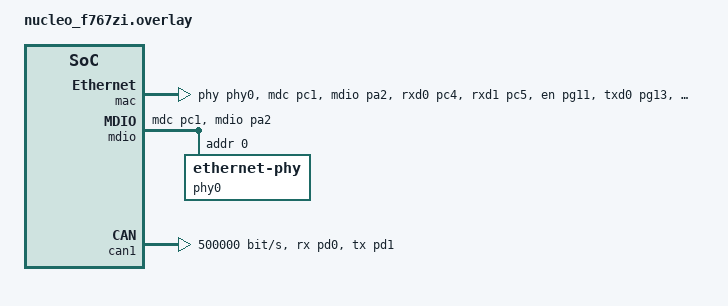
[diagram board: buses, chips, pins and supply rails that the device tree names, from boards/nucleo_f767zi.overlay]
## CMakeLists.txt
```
# CMake build configuration for Zephyr RTOS application
# This file tells the build system how to compile our embedded application

# Require minimum CMake version for modern features
cmake_minimum_required(VERSION 3.20.0)

# Export compile_commands.json for IDE IntelliSense
set(CMAKE_EXPORT_COMPILE_COMMANDS ON)

# Add device tree overlay for board-specific Ethernet configuration
# MUST be set before find_package(Zephyr)
# Disabled: board already provides correct Ethernet/PHY configuration
# set(DTC_OVERLAY_FILE "boards/nucleo_f767zi.overlay")

# Find and load the Zephyr RTOS build system
# ZEPHYR_BASE environment variable points to Zephyr installation
find_package(Zephyr REQUIRED HINTS $ENV{ZEPHYR_BASE})

# Define our project name (used in build outputs)
project(k2_zephyr_app)

# Use OpenOCD (from Zephyr SDK) as default flash/debug runner
set(BOARD_FLASH_RUNNER openocd)
set(BOARD_DEBUG_RUNNER openocd)

# Tell Zephyr to compile our main source file into the application
# 'app' is Zephyr's standard target name for the main application binary
target_sources(app PRIVATE src/main.c
                           src/led.c
                           src/net.c
                           src/control.c
                            src/bitmask.c
                            src/crc32.c)
```

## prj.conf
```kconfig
# Zephyr Project Configuration File
# This file enables/disables features and sets build-time options
# Each CONFIG_ line enables a specific feature or subsystem

# ==================== LOGGING & CONSOLE ====================
# Enable the logging subsystem for debug messages
CONFIG_LOG=y
# Set log level: 0=OFF, 1=ERROR, 2=WARN, 3=INFO, 4=DEBUG
CONFIG_LOG_DEFAULT_LEVEL=3
# Enable console output over UART (serial port)
CONFIG_UART_CONSOLE=y

CONFIG_SERIAL=y
CONFIG_CONSOLE=y
CONFIG_PRINTK=y

# ==================== CAN BUS ====================
# Enable CAN subsystem
CONFIG_CAN=y


# ==================== NETWORKING STACK ====================
# Enable the core networking subsystem
CONFIG_NETWORKING=y
# Enable IPv4 protocol support
CONFIG_NET_IPV4=y
# Disable DHCP client - using static IP instead
CONFIG_NET_DHCPV4=n
# Enable static IP configuration
CONFIG_NET_CONFIG_SETTINGS=y
CONFIG_NET_CONFIG_MY_IPV4_ADDR="192.168.1.100"
CONFIG_NET_CONFIG_MY_IPV4_NETMASK="255.255.255.0"
CONFIG_NET_CONFIG_MY_IPV4_GW="192.168.1.1"
# Enable Ethernet as a Layer 2 protocol (this enables Ethernet support)
CONFIG_NET_L2_ETHERNET=y
# Enable UDP protocol support
CONFIG_NET_UDP=y
# Enable BSD socket API for easier network programming
CONFIG_NET_SOCKETS=y
# Disable POSIX socket names, we use zsock_* explicitly
# (No assignment here; symbol may not exist in this Zephyr version)
# Enable Ethernet driver for STM32 (STM32F767ZI has built-in Ethernet MAC)
CONFIG_ETH_STM32_HAL=y
# Enable network buffer management
CONFIG_NET_BUF=y
# Increase network buffer pools for better performance
CONFIG_NET_PKT_RX_COUNT=16
CONFIG_NET_PKT_TX_COUNT=16
# Enable network management for monitoring connection status
CONFIG_NET_MGMT=y
CONFIG_NET_MGMT_EVENT=y
# Increase network memory pools
CONFIG_NET_BUF_RX_COUNT=16
CONFIG_NET_BUF_TX_COUNT=16
CONFIG_NET_BUF_DATA_SIZE=128
# Enable network statistics for debugging
CONFIG_NET_STATISTICS=y

# ==================== GPIO & HARDWARE ====================
# Enable GPIO (General Purpose Input/Output) for LED control
CONFIG_GPIO=y

# ==================== DEBUGGING & DIAGNOSTICS ====================
# Enable thread stack information for debugging
CONFIG_THREAD_STACK_INFO=y
# Initialize stack memory to help detect stack overflows
CONFIG_INIT_STACKS=y

# ==================== C LIBRARY ====================
# Use newlib C library instead of minimal libc
CONFIG_NEWLIB_LIBC=y
# Enable floating point support in printf/sprintf functions
CONFIG_NEWLIB_LIBC_FLOAT_PRINTF=y
# Enable POSIX API support
# (Do not force-disable here; omit this in prj.conf)
# Increase main thread stack size for networking
CONFIG_MAIN_STACK_SIZE=4096
```

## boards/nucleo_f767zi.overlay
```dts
/*
 * Device Tree Overlay for NUCLEO-F767ZI Ethernet Configuration
 * 
 * This overlay configures the STM32F767ZI's built-in Ethernet MAC
 * to work with the LAN8742A PHY chip on the NUCLEO board.
 */

&mac {
	status = "okay";
	pinctrl-0 = <&eth_mdc_pc1 &eth_mdio_pa2 &eth_rxd0_pc4 &eth_rxd1_pc5
		     &eth_tx_en_pg11 &eth_txd0_pg13 &eth_txd1_pb13
		     &eth_rx_dv_pa7 &eth_ref_clk_pa1>;
	pinctrl-names = "default";
	phy-handle = <&phy0>;
};

&mdio {
	status = "okay";
	pinctrl-0 = <&eth_mdc_pc1 &eth_mdio_pa2>;
	pinctrl-names = "default";

	phy0: ethernet-phy@0 {
		compatible = "ethernet-phy";
		reg = <0>;
		status = "okay";
	};
};


&pinctrl {
    can1_rx_pd0: can1_rx_pd0 { pinmux = <STM32_PINMUX('D', 0, AF9)>; };
    can1_tx_pd1: can1_tx_pd1 { pinmux = <STM32_PINMUX('D', 1, AF9)>; };
};

&can1 {
    status = "okay";
    pinctrl-0 = <&can1_rx_pd0 &can1_tx_pd1>;
    pinctrl-names = "default";
    bus-speed = <500000>;
    sample-point = <875>;
};
```

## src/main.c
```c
#include <zephyr/kernel.h>
#include <zephyr/device.h>
#include <zephyr/drivers/can.h>
#include <zephyr/logging/log.h>
#include "canbus.h"
#include "led.h"
#include "control.h"
#include "net.h"

LOG_MODULE_REGISTER(k2_app, LOG_LEVEL_INF);


void main(void)
{

    canbus_init();

    // Initialize the LED GPIO pin
    led_init();

    // Initialize ROV control system
    rov_control_init();
    
    // Initialize networking
    network_init();

    // Start ROV control thread
    rov_control_start();
    
    // Start UDP server thread
    udp_server_start();



    while (1) {

        vesc_set_rpm(68, 2000);
        vesc_set_rpm(37, 750);
        vesc_set_rpm(7, 1500);

        k_sleep(K_SECONDS(1));
    }
}
```

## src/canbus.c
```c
#include "canbus.h"
#include <zephyr/kernel.h>
#include <zephyr/logging/log.h>
LOG_MODULE_REGISTER(canbus, LOG_LEVEL_INF);

static const struct device *can_dev;

/* 29-bit Extended ID: (CMD << 8) | controller_id */
static inline uint32_t vesc_eid(uint8_t cmd, uint8_t cid)
{
    return ((uint32_t)cmd << 8) | (uint32_t)cid;
}

static inline void put_u32_be(uint8_t *dst, int32_t v)
{
    dst[0] = (uint8_t)(v >> 24);
    dst[1] = (uint8_t)(v >> 16);
    dst[2] = (uint8_t)(v >>  8);
    dst[3] = (uint8_t)(v >>  0);
}

int canbus_init(void)
{
    can_dev = DEVICE_DT_GET(DT_NODELABEL(can1));
    if (!device_is_ready(can_dev)) {
        LOG_ERR("CAN not ready");
        return -ENODEV;
    }
    int ret = can_set_mode(can_dev, CAN_MODE_NORMAL);
    if (ret) { LOG_ERR("can_set_mode=%d", ret); return ret; }
    ret = can_start(can_dev);
    if (ret) { LOG_ERR("can_start=%d", ret); return ret; }

    enum can_state st; struct can_bus_err_cnt cnt;
    if (!can_get_state(can_dev, &st, &cnt)) {
#if KERNEL_VERSION_MAJOR >= 4
        LOG_INF("CAN ready: state=%d REC=%u TEC=%u", st, cnt.rx_err_cnt, cnt.tx_err_cnt);
#else
        LOG_INF("CAN ready: state=%d REC=%u TEC=%u", st, cnt.rx_err_cnt, cnt.tx_err_cnt);
#endif
    }
    return 0;
}

int vesc_send_u32(enum vesc_can_cmd cmd, uint8_t controller_id, int32_t val)
{
    if (!can_dev) return -ENODEV;

    struct can_frame f = {
        .id    = vesc_eid((uint8_t)cmd, controller_id),  // 29-bit EID
        .dlc   = 4,
        .flags = CAN_FRAME_IDE                           // EXTENDED!
    };
    put_u32_be(f.data, val);

    int ret = can_send(can_dev, &f, K_MSEC(200), NULL, NULL);
    if (ret) {
        LOG_ERR("VESC send cmd=%u id=%u ret=%d", (unsigned)cmd, (unsigned)controller_id, ret);
    }
    return ret;
}

int vesc_set_duty(uint8_t id, float duty)
{
    /* VESC forventer duty * 100000 (signert 32-bit) */
    int32_t v = (int32_t)(duty * 100000.0f);
    return vesc_send_u32(VESC_CAN_SET_DUTY, id, v);
}

int vesc_set_current(uint8_t id, float amp)
{
    /* VESC forventer A * 1000 */
    int32_t v = (int32_t)(amp * 1000.0f);
    return vesc_send_u32(VESC_CAN_SET_CURRENT, id, v);
}

int vesc_set_brake(uint8_t id, float amp)
{
    int32_t v = (int32_t)(amp * 1000.0f);
    return vesc_send_u32(VESC_CAN_SET_CURRENT_BRAKE, id, v);
}

int vesc_set_rpm(uint8_t id, int32_t rpm)
{
    return vesc_send_u32(VESC_CAN_SET_RPM, id, rpm);   // u-skalert RPM
}

int vesc_set_pos(uint8_t id, int32_t pos)
{
    return vesc_send_u32(VESC_CAN_SET_POS, id, pos);
}
```

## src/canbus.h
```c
#pragma once
#include <zephyr/device.h>
#include <zephyr/drivers/can.h>

/* VESC CAN commands (utdrag) */
enum vesc_can_cmd {
    VESC_CAN_SET_DUTY              = 0,
    VESC_CAN_SET_CURRENT           = 1,
    VESC_CAN_SET_CURRENT_BRAKE     = 2,
    VESC_CAN_SET_RPM               = 3,
    VESC_CAN_SET_POS               = 4,
    VESC_CAN_SET_CURRENT_REL       = 10,
    VESC_CAN_SET_CURRENT_BRAKE_REL = 11,
};

/* Init av CAN (starter i NORMAL) */
int  canbus_init(void);

/* VESC-sending: controller_id = VESC sin CAN ID (0..255) */
int  vesc_set_duty   (uint8_t controller_id, float duty);      // [-1.0..+1.0]
int  vesc_set_current(uint8_t controller_id, float amp);       // A
int  vesc_set_brake  (uint8_t controller_id, float amp);       // A (brems)
int  vesc_set_rpm    (uint8_t controller_id, int32_t rpm);     // RPM (heltall)
int  vesc_set_pos    (uint8_t controller_id, int32_t pos);     // valgfri

/* Valgfri: send rå VESC-kommando (int32 payload) */
int  vesc_send_u32(enum vesc_can_cmd cmd, uint8_t controller_id, int32_t val);
```

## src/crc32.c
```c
#include <stdint.h>
#include <stddef.h>
#include "crc32.h"

static const uint32_t crc32_table[256] = {
    0x00000000, 0x77073096, 0xEE0E612C, 0x990951BA, 0x076DC419, 0x706AF48F,
    0xE963A535, 0x9E6495A3, 0x0EDB8832, 0x79DCB8A4, 0xE0D5E91E, 0x97D2D988,
    0x09B64C2B, 0x7EB17CBD, 0xE7B82D07, 0x90BF1D91, 0x1DB71064, 0x6AB020F2,
    0xF3B97148, 0x84BE41DE, 0x1ADAD47D, 0x6DDDE4EB, 0xF4D4B551, 0x83D385C7,
    0x136C9856, 0x646BA8C0, 0xFD62F97A, 0x8A65C9EC, 0x14015C4F, 0x63066CD9,
    0xFA0F3D63, 0x8D080DF5, 0x3B6E20C8, 0x4C69105E, 0xD56041E4, 0xA2677172,
    0x3C03E4D1, 0x4B04D447, 0xD20D85FD, 0xA50AB56B, 0x35B5A8FA, 0x42B2986C,
    0xDBBBC9D6, 0xACBCF940, 0x32D86CE3, 0x45DF5C75, 0xDCD60DCF, 0xABD13D59,
    0x26D930AC, 0x51DE003A, 0xC8D75180, 0xBFD06116, 0x21B4F4B5, 0x56B3C423,
    0xCFBA9599, 0xB8BDA50F, 0x2802B89E, 0x5F058808, 0xC60CD9B2, 0xB10BE924,
    0x2F6F7C87, 0x58684C11, 0xC1611DAB, 0xB6662D3D, 0x76DC4190, 0x01DB7106,
    0x98D220BC, 0xEFD5102A, 0x71B18589, 0x06B6B51F, 0x9FBFE4A5, 0xE8B8D433,
    0x7807C9A2, 0x0F00F934, 0x9609A88E, 0xE10E9818, 0x7F6A0DBB, 0x086D3D2D,
    0x91646C97, 0xE6635C01, 0x6B6B51F4, 0x1C6C6162, 0x856530D8, 0xF262004E,
    0x6C0695ED, 0x1B01A57B, 0x8208F4C1, 0xF50FC457, 0x65B0D9C6, 0x12B7E950,
    0x8BBEB8EA, 0xFCB9887C, 0x62DD1DDF, 0x15DA2D49, 0x8CD37CF3, 0xFBD44C65,
    0x4DB26158, 0x3AB551CE, 0xA3BC0074, 0xD4BB30E2, 0x4ADFA541, 0x3DD895D7,
    0xA4D1C46D, 0xD3D6F4FB, 0x4369E96A, 0x346ED9FC, 0xAD678846, 0xDA60B8D0,
    0x44042D73, 0x33031DE5, 0xAA0A4C5F, 0xDD0D7CC9, 0x5005713C, 0x270241AA,
    0xBE0B1010, 0xC90C2086, 0x5768B525, 0x206F85B3, 0xB966D409, 0xCE61E49F,
    0x5EDEF90E, 0x29D9C998, 0xB0D09822, 0xC7D7A8B4, 0x59B33D17, 0x2EB40D81,
    0xB7BD5C3B, 0xC0BA6CAD, 0xEDB88320, 0x9ABFB3B6, 0x03B6E20C, 0x74B1D29A,
    0xEAD54739, 0x9DD277AF, 0x04DB2615, 0x73DC1683, 0xE3630B12, 0x94643B84,
    0x0D6D6A3E, 0x7A6A5AA8, 0xE40ECF0B, 0x9309FF9D, 0x0A00AE27, 0x7D079EB1,
    0xF00F9344, 0x8708A3D2, 0x1E01F268, 0x6906C2FE, 0xF762575D, 0x806567CB,
    0x196C3671, 0x6E6B06E7, 0xFED41B76, 0x89D32BE0, 0x10DA7A5A, 0x67DD4ACC,
    0xF9B9DF6F, 0x8EBEEFF9, 0x17B7BE43, 0x60B08ED5, 0xD6D6A3E8, 0xA1D1937E,
    0x38D8C2C4, 0x4FDFF252, 0xD1BB67F1, 0xA6BC5767, 0x3FB506DD, 0x48B2364B,
    0xD80D2BDA, 0xAF0A1B4C, 0x36034AF6, 0x41047A60, 0xDF60EFC3, 0xA867DF55,
    0x316E8EEF, 0x4669BE79, 0xCB61B38C, 0xBC66831A, 0x256FD2A0, 0x5268E236,
    0xCC0C7795, 0xBB0B4703, 0x220216B9, 0x5505262F, 0xC5BA3BBE, 0xB2BD0B28,
    0x2BB45A92, 0x5CB36A04, 0xC2D7FFA7, 0xB5D0CF31, 0x2CD99E8B, 0x5BDEAE1D,
    0x9B64C2B0, 0xEC63F226, 0x756AA39C, 0x026D930A, 0x9C0906A9, 0xEB0E363F,
    0x72076785, 0x05005713, 0x95BF4A82, 0xE2B87A14, 0x7BB12BAE, 0x0CB61B38,
    0x92D28E9B, 0xE5D5BE0D, 0x7CDCEFB7, 0x0BDBDF21, 0x86D3D2D4, 0xF1D4E242,
    0x68DDB3F8, 0x1FDA836E, 0x81BE16CD, 0xF6B9265B, 0x6FB077E1, 0x18B74777,
    0x88085AE6, 0xFF0F6A70, 0x66063BCA, 0x11010B5C, 0x8F659EFF, 0xF862AE69,
    0x616BFFD3, 0x166CCF45, 0xA00AE278, 0xD70DD2EE, 0x4E048354, 0x3903B3C2,
    0xA7672661, 0xD06016F7, 0x4969474D, 0x3E6E77DB, 0xAED16A4A, 0xD9D65ADC,
    0x40DF0B66, 0x37D83BF0, 0xA9BCAE53, 0xDEBB9EC5, 0x47B2CF7F, 0x30B5FFE9,
    0xBDBDF21C, 0xCABAC28A, 0x53B39330, 0x24B4A3A6, 0xBAD03605, 0xCDD70693,
    0x54DE5729, 0x23D967BF, 0xB3667A2E, 0xC4614AB8, 0x5D681B02, 0x2A6F2B94,
    0xB40BBE37, 0xC30C8EA1, 0x5A05DF1B, 0x2D02EF8D
};

uint32_t crc32_ieee(const void *data, size_t len) {
    const uint8_t *p = (const uint8_t*)data;
    uint32_t crc = 0xFFFFFFFFu;
    while (len--) {
        uint8_t idx = (uint8_t)((crc ^ *p++) & 0xFFu);
        crc = (crc >> 8) ^ crc32_table[idx];
    }
    return ~crc;
}
```

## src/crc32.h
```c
#pragma once
#include <stddef.h>
#include <stdint.h>

#ifdef __cplusplus
extern "C" {
#endif

uint32_t crc32_ieee(const void *data, size_t len);

#ifdef __cplusplus
}
#endif
```

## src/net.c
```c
// Zephyr RTOS kernel and logging headers
#include <zephyr/kernel.h>
#include <zephyr/logging/log.h>
// Zephyr networking stack headers for socket operations
#include <zephyr/net/socket.h>
#include <zephyr/net/net_if.h>
#include <zephyr/net/net_mgmt.h>
#include <zephyr/net/net_ip.h>
// Standard C library headers for string manipulation and I/O
#include <string.h>
#include <stdio.h>
#include <stdlib.h>
#include <errno.h>
#include <stddef.h>

// Include LED control header for visual feedback
#include "led.h"
#include "control.h"

#include "bitmask.h"
#include "crc32.h"

// Declare this module for logging purposes
LOG_MODULE_DECLARE(k2_app);

// Network configuration constants
#define UDP_PORT 12345          // Port number for UDP server to listen on
#define RECV_BUFFER_SIZE 64     // Buffer size for incoming UDP messages

// Packet structure definition
typedef struct {
    uint32_t sequence;  // Sequence number
    uint64_t payload;   // Payload data
    uint32_t crc32;     // CRC32 checksum
} __attribute__((packed)) udp_packet_t;

_Static_assert(sizeof(udp_packet_t) == 16, "udp_packet_t must be 16 bytes");

// Static IP configuration - customize these for your network
#define STATIC_IP_ADDR "192.168.1.100"   // Device's static IP address
#define STATIC_NETMASK "255.255.255.0"   // Subnet mask
#define STATIC_GATEWAY "192.168.1.1"     // Default gateway address

// Network management callback structure for handling interface events
static struct net_mgmt_event_callback mgmt_cb;
bool network_ready = false;  // Flag to track network interface status

static inline uint64_t host_to_net_64(uint64_t value)
{
#if __BYTE_ORDER__ == __ORDER_LITTLE_ENDIAN__
    return __builtin_bswap64(value);
#else
    return value;
#endif
}

// UDP socket and thread management variables
int udp_sock = -1;                                    // UDP socket file descriptor
K_THREAD_STACK_DEFINE(udp_thread_stack, 2048);      // Stack space for UDP thread
struct k_thread udp_thread_data;                     // Thread control block



/**
 * Network management event handler - called when network interface events occur
 * @param cb: Callback structure (unused)
 * @param mgmt_event: Type of network management event
 * @param iface: Network interface that generated the event
 */
static void net_mgmt_event_handler(struct net_mgmt_event_callback *cb,
                                   uint64_t mgmt_event, struct net_if *iface)
{
    // Check if network interface came up
    if (mgmt_event == NET_EVENT_IF_UP) {
        LOG_INF("Network interface is up - network is ready");
        network_ready = true;  // Set flag to indicate network is available
    } 
    // Check if network interface went down
    else if (mgmt_event == NET_EVENT_IF_DOWN) {
        LOG_WRN("Network interface is down");
        network_ready = false;  // Clear network ready flag
    }
}

/**
 * Parse IPv4 address string into binary format
 * @param str: String representation of IP address (e.g., "192.168.1.100")
 * @param addr: Output structure to store parsed address
 * @return: 0 on success, negative error code on failure
 */
static inline int parse_ipv4_addr(const char *str, struct in_addr *addr) // Added: inline
{
    unsigned int a, b, c, d;
    
    // Validate and parse the IPv4 address string
    if (sscanf(str, "%u.%u.%u.%u", &a, &b, &c, &d) != 4 || 
        a > 255 || b > 255 || c > 255 || d > 255) {
        return -EINVAL;
    }
    
    addr->s_addr = htonl((a << 24) | (b << 16) | (c << 8) | d);
    return 0;
}

/**
 * Configure static IP settings for the network interface
 * @param iface: Network interface to configure
 * @return: 0 on success, negative error code on failure
 */
static int configure_static_ip(struct net_if *iface)
{
    struct in_addr addr;     // IP address structure
    struct in_addr netmask;  // Netmask structure
    struct in_addr gateway;  // Gateway address structure
    int ret;

    // Configure IP address
    ret = parse_ipv4_addr(STATIC_IP_ADDR, &addr);
    if (ret < 0) {
        LOG_ERR("Invalid IP address format: %s", STATIC_IP_ADDR);
        return -EINVAL;
    }
    // Add the IP address to the interface with manual configuration
    net_if_ipv4_addr_add(iface, &addr, NET_ADDR_MANUAL, 0);

    // Configure netmask (subnet mask)
    ret = parse_ipv4_addr(STATIC_NETMASK, &netmask);
    if (ret < 0) {
        LOG_ERR("Invalid netmask format: %s", STATIC_NETMASK);
        return -EINVAL;
    }
    // Set the netmask for the configured IP address
    net_if_ipv4_set_netmask_by_addr(iface, &addr, &netmask);

    // Configure gateway (default route)
    ret = parse_ipv4_addr(STATIC_GATEWAY, &gateway);
    if (ret < 0) {
        LOG_ERR("Invalid gateway format: %s", STATIC_GATEWAY);
        return -EINVAL;
    }
    // Set the default gateway for the interface
    net_if_ipv4_set_gw(iface, &gateway);

    // Log the complete static IP configuration for verification
    LOG_INF("Static IP configuration:");
    LOG_INF("  IP: %s", STATIC_IP_ADDR);
    LOG_INF("  Netmask: %s", STATIC_NETMASK);
    LOG_INF("  Gateway: %s", STATIC_GATEWAY);

    return 0;  // Configuration successful
}

/**
 * Initialize the network subsystem with static IP configuration
 * This function sets up the network interface and applies static IP settings
 */
void network_init(void)
{
    struct net_if *iface;  // Network interface handle
    int ret;

    LOG_INF("Initializing network with static IP...");

    // Get the default network interface
    iface = net_if_get_default();
    if (!iface) {
        LOG_ERR("No network interface found");
        return;  // Cannot proceed without a network interface
    }

    // Initialize network management event callback to monitor interface status
    net_mgmt_init_event_callback(&mgmt_cb, net_mgmt_event_handler,
                                 NET_EVENT_IF_UP | NET_EVENT_IF_DOWN);
    // Register the callback with the network management subsystem
    net_mgmt_add_event_callback(&mgmt_cb);

    // Apply static IP configuration to the interface
    ret = configure_static_ip(iface);
    if (ret < 0) {
        LOG_ERR("Failed to configure static IP: %d", ret);
        return;  // Configuration failed
    }

    // Bring the network interface up (activate it)
    net_if_up(iface);
    
    // Allow some time for the interface to become operational
    k_sleep(K_MSEC(200));
    network_ready = true;  // Mark network as ready for use
    
    LOG_INF("Static IP configuration complete");
}


/**
 * Convert 64-bit value from network byte order to host byte order
 * @param value: 64-bit value in network byte order
 * @return: 64-bit value in host byte order
 */
static inline uint64_t net_to_host_64(uint64_t value)
{
#if __BYTE_ORDER__ == __ORDER_LITTLE_ENDIAN__
    return __builtin_bswap64(value);
#else
    return value;
#endif
}


static int send_udp_packet(int sock, const struct sockaddr_in *to,
                           uint32_t seq_host, uint64_t payload_host)
{
    udp_packet_t out = {0};

    // Fill in network order for sequence/payload
    out.sequence = htonl(seq_host);
    out.payload  = host_to_net_64(payload_host);

    uint32_t crc = crc32_ieee(&out, offsetof(udp_packet_t, crc32));
    out.crc32 = htonl(crc);

    return zsock_sendto(sock, &out, sizeof(out), 0,
                        (const struct sockaddr *)to, sizeof(*to));
}

/**
 * UDP server thread function - handles incoming UDP messages
 */
void udp_server_thread(void *arg1, void *arg2, void *arg3)
{
    ARG_UNUSED(arg1); ARG_UNUSED(arg2); ARG_UNUSED(arg3);

    struct sockaddr_in bind_addr, client_addr;
    socklen_t client_addr_len = sizeof(client_addr);
    int ret;

    while (!network_ready) {
        k_sleep(K_MSEC(100));
    }

    udp_sock = zsock_socket(AF_INET, SOCK_DGRAM, IPPROTO_UDP);
    if (udp_sock < 0) {
        LOG_ERR("Failed to create UDP socket: %d", udp_sock);
        return;
    }

    memset(&bind_addr, 0, sizeof(bind_addr));
    bind_addr.sin_family = AF_INET;
    bind_addr.sin_addr.s_addr = INADDR_ANY;
    bind_addr.sin_port = htons(UDP_PORT);

    ret = zsock_bind(udp_sock, (struct sockaddr *)&bind_addr, sizeof(bind_addr));
    if (ret < 0) {
        LOG_ERR("Failed to bind UDP socket: %d", ret);
        zsock_close(udp_sock);
        return;
    }

    LOG_INF("UDP server ready on port %d", UDP_PORT);

    while (1) {
        udp_packet_t packet;
        client_addr_len = sizeof(client_addr);

        ret = zsock_recvfrom(udp_sock, &packet, sizeof(packet), 0,
                             (struct sockaddr *)&client_addr, &client_addr_len);

        if (ret == sizeof(udp_packet_t)) {
            uint32_t recv_sequence = ntohl(packet.sequence);
            uint64_t recv_payload  = net_to_host_64(packet.payload);
            uint32_t recv_crc      = ntohl(packet.crc32);

            // Recompute CRC over sequence+payload (network order)
            uint32_t calc_crc = crc32_ieee(&packet, offsetof(udp_packet_t, crc32));

            if (calc_crc == recv_crc) {
                // Forward to control as before
                rov_send_command(recv_sequence, recv_payload);

                // Reply with current bitmask
                uint64_t current_bm = bm_get_current();
                (void)send_udp_packet(udp_sock, &client_addr, recv_sequence, current_bm);
            } else {
                LOG_ERR("CRC MISMATCH - drop (seq=%u)", recv_sequence);
            }
        } else if (ret < 0) {
            LOG_ERR("UDP recv error: %d", ret);
            k_sleep(K_MSEC(100));
        } else {
            LOG_WRN("Wrong packet size: got %d", ret);
        }
    }
}

/**
 * Start the UDP server by creating and launching the server thread
 * This function creates a new thread that will handle all UDP server operations
 */
void udp_server_start(void)
{
    k_tid_t thread_id;
    
    // Create and start the UDP server thread
    thread_id = k_thread_create(&udp_thread_data,
                               udp_thread_stack,
                               K_THREAD_STACK_SIZEOF(udp_thread_stack),
                               udp_server_thread,
                               NULL, NULL, NULL,
                               K_PRIO_COOP(7),
                               0,
                               K_NO_WAIT);
    
    if (thread_id != NULL) {
        LOG_INF("UDP server thread created successfully");
    } else {
        LOG_ERR("Failed to create UDP server thread");
    }
}
```
